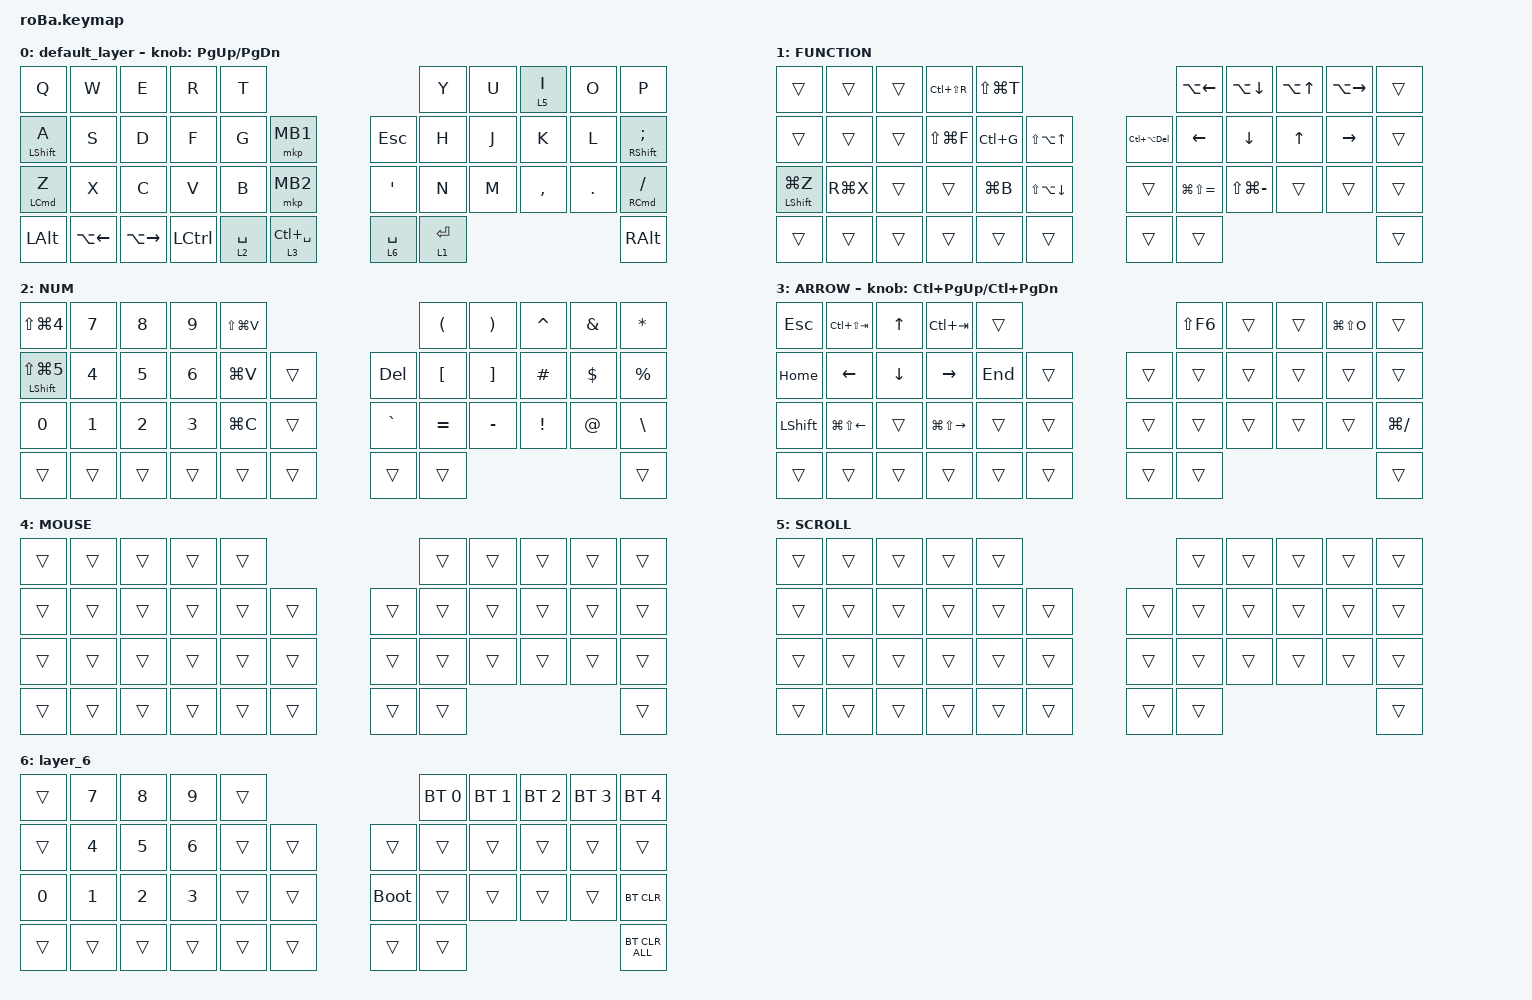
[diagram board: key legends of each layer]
#include <behaviors.dtsi>
#include <dt-bindings/zmk/bt.h>
#include <dt-bindings/zmk/keys.h>
#include <dt-bindings/zmk/pointing.h>

&mt {
    flavor = "balanced";
    quick-tap-ms = <0>;
};

&trackball {
    automouse-layer = <4>;
    scroll-layers = <5>;

    // arrows {
    //     layers = <3>;
    //     bindings =
    //         <&kp RIGHT_ARROW>,
    //         <&kp LEFT_ARROW>,
    //         <&kp UP_ARROW>,
    //         <&kp DOWN_ARROW>;

    //     tick = <10>;
    //     wait-ms = <5>;
    //     tap-ms = <5>;
    // };
};

/ {
    combos {
        compatible = "zmk,combos";

        tab {
            bindings = <&kp TAB>;
            key-positions = <11 12>;
        };

        shift_tab {
            bindings = <&kp LS(TAB)>;
            key-positions = <12 13>;
        };

        muhennkann {
            bindings = <&to_layer_0 INT_MUHENKAN>;
            key-positions = <11 10>;
        };

        double_quotation {
            bindings = <&kp DOUBLE_QUOTES>;
            key-positions = <20 21>;
        };

        eq {
            bindings = <&kp EQUAL>;
            key-positions = <24 25>;
        };

        formatImport {
            bindings = <&kp LC(LA(O))>;
            key-positions = <7 8>;
        };

        formatCode {
            bindings = <&kp LA(LG(L))>;
            key-positions = <19 20>;
        };

        closeBlacket {
            bindings = <&kp GREATER_THAN>;
            key-positions = <31 32>;
        };

        backSpace {
            bindings = <&kp BACKSPACE>;
            key-positions = <18 19>;
        };

        openBlacket {
            bindings = <&kp LESS_THAN>;
            key-positions = <30 31>;
        };

        lambda {
            bindings = <&lambda>;
            key-positions = <6 7>;
        };

        comment {
            bindings = <&kp LG(SLASH)>;
            key-positions = <32 33>;
        };
    };

    macros {
        to_layer_0: to_layer_0 {
            compatible = "zmk,behavior-macro-one-param";
            #binding-cells = <1>;
            bindings = <&to 0 &macro_param_1to1 &kp MACRO_PLACEHOLDER>;
            label = "TO_LAYER_0";
        };

        lambda: new_macro {
            compatible = "zmk,behavior-macro";
            #binding-cells = <0>;
            bindings = <&kp LEFT_PARENTHESIS &kp RIGHT_PARENTHESIS &kp SPACE &kp EQUAL &kp GREATER_THAN &kp SPACE &kp LEFT_BRACE &kp RIGHT_BRACE &kp LEFT>;
            label = "NEW_MACRO";
        };
    };

    behaviors {
        lt_to_layer_0: lt_to_layer_0 {
            compatible = "zmk,behavior-hold-tap";
            label = "LAYER_TAP_TO_0";
            bindings = <&mo>, <&to_layer_0>;

            #binding-cells = <2>;
            tapping-term-ms = <200>;
        };
    };

    keymap {
        compatible = "zmk,keymap";

        default_layer {
            bindings = <
&kp Q               &kp W         &kp E          &kp R             &kp T                                                                &kp Y        &kp U  &lt 5 I    &kp O    &kp P
&mt LEFT_SHIFT A    &kp S         &kp D          &kp F             &kp G        &mkp MB1                        &kp ESCAPE              &kp H        &kp J  &kp K      &kp L    &mt RIGHT_SHIFT SEMICOLON
&mt LEFT_COMMAND Z  &kp X         &kp C          &kp V             &kp B        &mkp MB2                        &kp SQT                 &kp N        &kp M  &kp COMMA  &kp DOT  &mt RIGHT_COMMAND SLASH
&kp LEFT_ALT        &kp LA(LEFT)  &kp LA(RIGHT)  &kp LEFT_CONTROL  &lt 2 SPACE  &lt_to_layer_0 3 LC(SPACE)      &lt_to_layer_0 6 SPACE  &lt 1 ENTER                             &kp RIGHT_ALT
            >;

            sensor-bindings = <&inc_dec_kp PG_UP PAGE_DOWN>;
        };

        FUNCTION {
            bindings = <
&trans                &trans     &trans  &kp LC(LS(R))  &kp LS(LG(T))                                                  &kp LA(LEFT)       &kp LA(DOWN_ARROW)  &kp LA(UP_ARROW)  &kp LA(RIGHT)  &trans
&trans                &trans     &trans  &kp LS(LG(F))  &kp LC(G)      &kp LS(LA(UP_ARROW))        &kp LC(LA(DELETE))  &kp LEFT           &kp DOWN_ARROW      &kp UP_ARROW      &kp RIGHT      &trans
&mt LEFT_SHIFT LG(Z)  &kp RG(X)  &trans  &trans         &kp LG(B)      &kp LS(LA(DOWN_ARROW))      &trans              &kp LG(LS(EQUAL))  &kp LS(LG(MINUS))   &trans            &trans         &trans
&trans                &trans     &trans  &trans         &trans         &trans                      &trans              &trans                                                                  &trans
            >;
        };

        NUM {
            bindings = <
&kp LS(LG(NUMBER_4))       &kp N7  &kp N8  &kp N9  &kp LS(LG(V))                          &kp LEFT_PARENTHESIS  &kp RIGHT_PARENTHESIS  &kp CARET        &kp AMPERSAND  &kp ASTERISK
&mt LEFT_SHIFT LS(LG(N5))  &kp N4  &kp N5  &kp N6  &kp LG(V)      &trans      &kp DELETE  &kp LEFT_BRACKET      &kp RIGHT_BRACKET      &kp HASH         &kp DOLLAR     &kp PERCENT
&kp N0                     &kp N1  &kp N2  &kp N3  &kp LG(C)      &trans      &kp GRAVE   &kp EQUAL             &kp MINUS              &kp EXCLAMATION  &kp AT_SIGN    &kp BACKSLASH
&trans                     &trans  &trans  &trans  &trans         &trans      &trans      &trans                                                                       &trans
            >;
        };

        ARROW {
            bindings = <
&kp ESCAPE      &kp LC(LS(TAB))         &kp UP_ARROW    &kp LC(TAB)              &trans                       &kp LS(F6)  &trans  &trans  &kp LG(LS(O))  &trans
&kp HOME        &kp LEFT_ARROW          &kp DOWN_ARROW  &kp RIGHT_ARROW          &kp END  &trans      &trans  &trans      &trans  &trans  &trans         &trans
&kp LEFT_SHIFT  &kp LG(LS(LEFT_ARROW))  &trans          &kp LG(LS(RIGHT_ARROW))  &trans   &trans      &trans  &trans      &trans  &trans  &trans         &kp LG(SLASH)
&trans          &trans                  &trans          &trans                   &trans   &trans      &trans  &trans                                     &trans
            >;

            sensor-bindings = <&inc_dec_kp LC(PAGE_UP) LC(PAGE_DOWN)>;
        };

        MOUSE {
            bindings = <
&trans  &trans  &trans  &trans  &trans                      &trans  &trans  &trans  &trans  &trans
&trans  &trans  &trans  &trans  &trans  &trans      &trans  &trans  &trans  &trans  &trans  &trans
&trans  &trans  &trans  &trans  &trans  &trans      &trans  &trans  &trans  &trans  &trans  &trans
&trans  &trans  &trans  &trans  &trans  &trans      &trans  &trans                          &trans
            >;
        };

        SCROLL {
            bindings = <
&trans  &trans  &trans  &trans  &trans                      &trans  &trans  &trans  &trans  &trans
&trans  &trans  &trans  &trans  &trans  &trans      &trans  &trans  &trans  &trans  &trans  &trans
&trans  &trans  &trans  &trans  &trans  &trans      &trans  &trans  &trans  &trans  &trans  &trans
&trans  &trans  &trans  &trans  &trans  &trans      &trans  &trans                          &trans
            >;
        };

        layer_6 {
            bindings = <
&trans  &kp N7        &kp N8        &kp N9        &trans                           &bt BT_SEL 0  &bt BT_SEL 1  &bt BT_SEL 2  &bt BT_SEL 3  &bt BT_SEL 4
&trans  &kp NUMBER_4  &kp N5        &kp NUMBER_6  &trans  &trans      &trans       &trans        &trans        &trans        &trans        &trans
&kp N0  &kp NUMBER_1  &kp NUMBER_2  &kp NUMBER_3  &trans  &trans      &bootloader  &trans        &trans        &trans        &trans        &bt BT_CLR
&trans  &trans        &trans        &trans        &trans  &trans      &trans       &trans                                                  &bt BT_CLR_ALL
            >;
        };
    };
};
